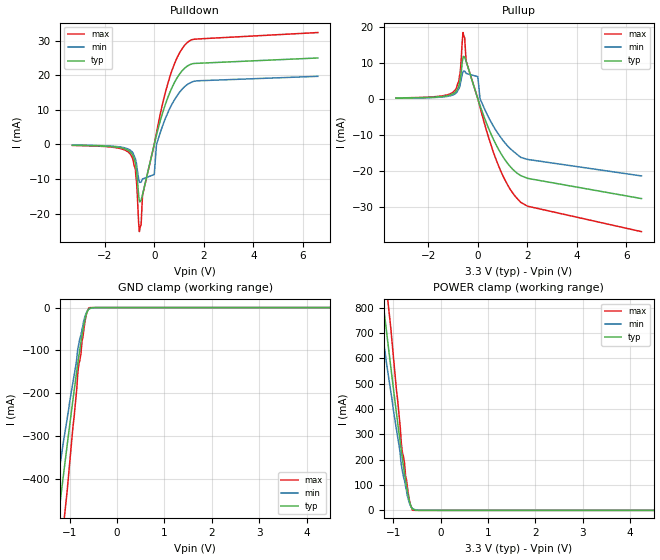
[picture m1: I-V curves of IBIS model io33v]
[IBIS Ver] 7.2
[File Name] mychip.ibs
[File Rev] 1.0
[Date] 2025-09-19
[Source] HSPICE extraction
[Notes] Auto-generated
|   COMPONENT: MyChip
[Component] MyChip
[Manufacturer] Acme Semi
[Package]
R_pkg 0.0 0.0 0.0
L_pkg 0.0 0.0 0.0
C_pkg 0.0 0.0 0.0
| [End Package]
[Pin] signal_name model_name R_pin L_pin C_pin
1 IO1 io33v 0 0 0
2 vcc POWER 0 0 0
3 GND GND 0 0 0
| [End Component]
| Models and submodels in the file (1): io33v (I/O)
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[Model] io33v
Model_type I/O
Polarity Non-Inverting
Enable Active-High
C_comp 2E-12 1.8E-12 2.3E-12
[Voltage Range] 3.30V  3.13V  3.46V
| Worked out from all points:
|   slope of the pulldown table from 0 to 0.495 V, typ, clamps not added: 39.7 ohm
|   slope of the pullup table from 0 to 0.495 V, typ, clamps not added: 53.8 ohm
|   GND clamp passes 1 mA (typ) near -0.55 V on its own axis
|   POWER clamp passes 1 mA (typ) near -0.53 V on its own axis
[Pullup]
| V I(typ) I(min) I(max)
-3.305V   186uA      149.2uA    231.5uA
-975mV    1.503mA    1.16mA     1.99mA
-760mV    3.808mA    2.82mA     5.049mA
-600mV    11.4mA     7.48mA     18.43mA
-530mV    11.56mA    7.673mA    16.96mA
-475mV    10.48mA    7.066mA    10.53mA
0V        5.942nA    6.154mA    8.123nA
90mV      -1.874mA   4.116nA    -2.341mA
450mV     -8.49mA    -5.397mA   -11.11mA
920mV     -15.09mA   -10.69mA   -20.05mA
1.51V     -20.28mA   -15.04mA   -27.15mA
6.61V     -27.78mA   -21.48mA   -36.99mA
[Pulldown]
| V I(typ) I(min) I(max)
-3.305V   -255.8uA   -208.5uA   -311.2uA
-975mV    -2.144mA   -1.677mA   -2.784mA
-760mV    -5.653mA   -4.212mA   -7.406mA
-600mV    -16.28mA   -10.82mA   -25.22mA
-530mV    -16.09mA   -10.91mA   -23.15mA
-475mV    -14.6mA    -9.994mA   -14.7mA
0V        -11.72nA   -8.724mA   -15.12nA
90mV      2.683mA    -5.915nA   3.349mA
360mV     9.624mA    5.815mA    12.47mA
730mV     16.63mA    11.8mA     21.66mA
1.21V     21.89mA    16.57mA    28.49mA
6.61V     24.96mA    19.66mA    32.31mA
[POWER Clamp]
| V I(typ) I(min) I(max)
-3.305V   4.242A     3.492A     5.495A
-1.32V    990.3mA    812.4mA    1.237A
-1.205V   807.5mA    667.1mA    1.013A
-1.11V    658.2mA    542.2mA    823.4mA
-1.05V    564.9mA    468.2mA    719.1mA
-850mV    265.6mA    219.8mA    325.8mA
-815mV    216.6mA    165.2mA    241.3mA
-760mV    143.7mA    119.1mA    187.6mA
-740mV    119.1mA    95.27mA    137.1mA
-685mV    59.44mA    46.16mA    71.22mA
-590mV    6.159mA    6.106mA    1.082mA
6.61V     0A         0A         0A
[GND Clamp]
| V I(typ) I(min) I(max)
-3.305V   -2.42A     -1.938A    -3.291A
-1.36V    -599.1mA   -480.8mA   -788mA
-1.24V    -489.8mA   -392.7mA   -647.1mA
-1.205V   -458.1mA   -368.2mA   -602.5mA
-1.11V    -372.8mA   -298.9mA   -488.7mA
-1.05V    -319.6mA   -257.8mA   -426.1mA
-815mV    -120.9mA   -89.83mA   -140.1mA
-760mV    -79.51mA   -64.36mA   -108.2mA
-740mV    -65.55mA   -51.23mA   -78.25mA
-665mV    -22.46mA   -17.49mA   -26.07mA
-590mV    -3.149mA   -3.093mA   -566.9uA
6.61V     0A         0A         0A
[Ramp]
R_load = 50.00Ohm
|   typ   min   max
dV/dt_r   1980.000mV/nanns   1980.000mV/nanns   1980.000mV/nanns
dV/dt_f   1980.000mV/nanns   1980.000mV/nanns   1980.000mV/nanns
| [End Model]
